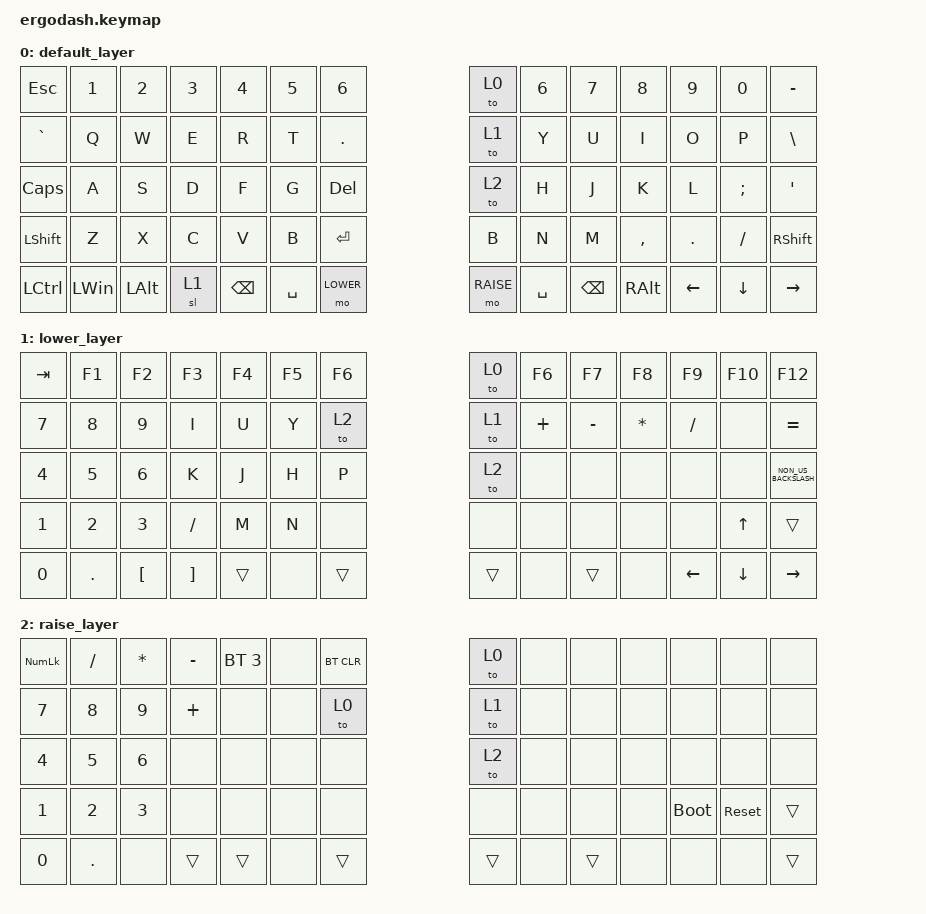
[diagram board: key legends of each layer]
/*
 * Copyright (c) 2020 The ZMK Contributors
 *
 * SPDX-License-Identifier: MIT
 */

#include <behaviors.dtsi>
#include <dt-bindings/zmk/bt.h>
#include <dt-bindings/zmk/keys.h>

#define DEFAULT 0
#define LOWER   1
#define RAISE   2

/ {
    keymap {
        compatible = "zmk,keymap";

        default_layer {
            /* QWERTY
 * .----------------------------------------------------------------------------------------------------------------------.
 * |  `   |   1  |   2  |   3  |   4  |   5  |  [   |                    |  ]   |   6  |   7  |   8  |   9  |   0  | PScr |
 * |------+------+------+------+------+------+------+--------------------+------+------+------+------+------+------+------|
 * | ESC  |   Q  |   W  |   E  |   R  |   T  |  -   |                    |  =   |   Y  |   U  |   I  |   O  |   P  |  \   |
 * |------+------+------+------+------+------+------+--------------------+------+------+------+------+------+------+------|
 * | Tab  |   A  |   S  |   D  |   F  |   G  | Del  |                    | Bksp |   H  |   J  |   K  |   L  |   ;  |  '   |
 * |------+------+------+------+------+------+---------------------------+------+------+------+------+------+------+------|
 * | Shift|   Z  |   X  |   C  |   V  |   B  | End  |                    | Home |   N  |   M  |   ,  |   .  |   /  | Shift|
 * |-------------+------+------+------+------+------+------+------+------+------+------+------+------+------+-------------|
 * | Ctrl |      | PGDN | Win  |||||||| Alt  | Space| Lower|||||||| Raise| Enter| RAlt ||||||||      | PGUP | Ins  | RCtrl|
 * .----------------------------------------------------------------------------------------------------------------------.
 */

            bindings = <
&kp ESC       &kp N1    &kp N2        &kp N3  &kp N4         &kp N5  &kp NUMBER_6                        &to 0      &kp N6  &kp N7         &kp N8     &kp N9    &kp N0     &kp MINUS
&kp GRAVE     &kp Q     &kp W         &kp E   &kp R          &kp T   &kp DOT                             &to 1      &kp Y   &kp U          &kp I      &kp O     &kp P      &kp BSLH
&kp CAPSLOCK  &kp A     &kp S         &kp D   &kp F          &kp G   &kp DEL                             &to 2      &kp H   &kp J          &kp K      &kp L     &kp SEMI   &kp SQT
&kp LSHFT     &kp Z     &kp X         &kp C   &kp V          &kp B                 &kp ENTER  &kp B                 &kp N   &kp M          &kp COMMA  &kp DOT   &kp SLASH  &kp RSHFT
&kp LCTRL     &kp LWIN  &kp LEFT_ALT  &sl 1   &kp BACKSPACE          &kp SPACE     &mo LOWER  &mo RAISE  &kp SPACE          &kp BACKSPACE  &kp RALT   &kp LEFT  &kp DOWN   &kp RIGHT
            >;
        };

        lower_layer {
            /* .----------------------------------------------------------------------------------------------------------------------.
 * |  F11 |  F1  |  F2  |  F3  |  F4  |  F5  |      |                    |      |  F6  |  F7  |  F8  |  F9  |  F10 |  F12 |
 * |------+------+------+------+------+------+------+--------------------+------+------+------+------+------+------+------|
 * |      |      |      |      |      |      |      |                    |      |      |      |      |      |      |      |
 * |------+------+------+------+------+------+------+--------------------+------+------+------+------+------+------+------|
 * |      |      |      |      |      |      |      |                    |      |      |      |      |      |      |      |
 * |------+------+------+------+------+------+---------------------------+------+------+------+------+------+------+------|
 * | Shift| Boot | Reset|      |      |      |      |                    |      |      |      |      |      |      | Shift|
 * |-------------+------+------+------+------+------+------+------+------+------+------+------+------+------+-------------|
 * | Ctlr |      |      |  Win |||||||| Alt  |      | Lower|||||||| Raise|      | RAlt ||||||||      |      |      | RCtrl|
 * .----------------------------------------------------------------------------------------------------------------------.
 */ /* FIXME boot and reset are not yet locale aware */
            bindings = <
&kp TAB       &kp F1        &kp F2            &kp F3             &kp F4  &kp F5  &kp F6                  &to 0  &kp F6    &kp F7     &kp F8        &kp F9     &kp F10   &kp F12
&kp N7        &kp N8        &kp N9            &kp I              &kp U   &kp Y   &to 2                   &to 1  &kp PLUS  &kp MINUS  &kp ASTERISK  &kp SLASH  &none     &kp EQUAL
&kp N4        &kp N5        &kp N6            &kp K              &kp J   &kp H   &kp P                   &to 2  &none     &none      &none         &none      &none     &kp NON_US_BACKSLASH
&kp NUMBER_1  &kp NUMBER_2  &kp NUMBER_3      &kp SLASH          &kp M   &kp N           &none   &none          &none     &none      &none         &none      &kp UP    &trans
&kp NUMBER_0  &kp DOT       &kp LEFT_BRACKET  &kp RIGHT_BRACKET  &trans          &none   &trans  &trans  &none            &trans     &none         &kp LEFT   &kp DOWN  &kp RIGHT
            >;
        };

        raise_layer {
            /* .----------------------------------------------------------------------------------------------------------------------.
 * |      | BT 0 | BT 1 | BT 2 | BT 3 |      | BTCL |                    |      |      |      |      |      |      |      |
 * |------+------+------+------+------+------+------+--------------------+------+------+------+------+------+------+------|
 * |      |      |      |      |      |      |      |                    |      |      |      |      |      |      |      |
 * |------+------+------+------+------+------+------+--------------------+------+------+------+------+------+------+------|
 * |      |      |      |      |      |      |      |                    |      |      |      |      |      |      |      |
 * |------+------+------+------+------+------+---------------------------+------+------+------+------+------+------+------|
 * | Shift|      |      |      |      |      |      |                    |      |      |      |      | Boot | Reset| Shift|
 * |-------------+------+------+------+------+------+------+------+------+------+------+------+------+------+-------------|
 * | Ctlr |      |      |  Win |||||||| Alt  |      | Lower|||||||| Raise|      | RAlt ||||||||      |      |      | RCtrl|
 * .----------------------------------------------------------------------------------------------------------------------.
 */ /* FIXME boot and reset are not yet locale aware */
            bindings = <
&kp KP_NUMLOCK  &kp SLASH     &kp ASTERISK  &kp MINUS  &bt BT_SEL 3  &none  &bt BT_CLR                  &to 0  &none  &none   &none  &none        &none       &none
&kp N7          &kp N8        &kp N9        &kp PLUS   &none         &none  &to 0                       &to 1  &none  &none   &none  &none        &none       &none
&kp NUMBER_4    &kp N5        &kp NUMBER_6  &none      &none         &none  &none                       &to 2  &none  &none   &none  &none        &none       &none
&kp NUMBER_1    &kp NUMBER_2  &kp NUMBER_3  &none      &none         &none              &none   &none          &none  &none   &none  &bootloader  &sys_reset  &trans
&kp N0          &kp DOT       &none         &trans     &trans               &none       &trans  &trans  &none         &trans  &none  &none        &none       &trans
            >;
        };
    };
};
